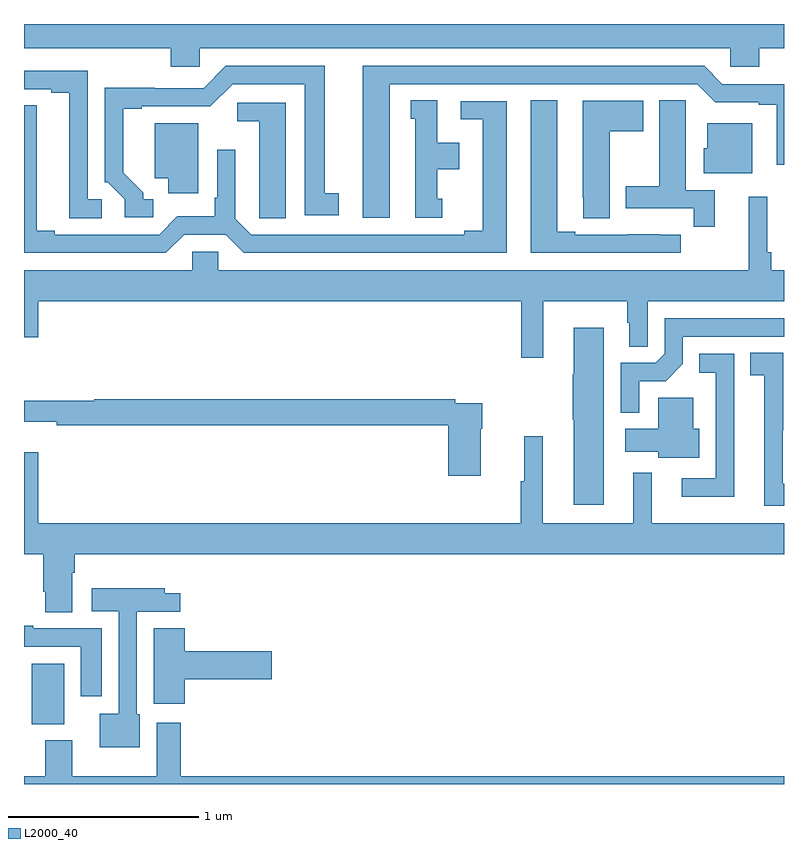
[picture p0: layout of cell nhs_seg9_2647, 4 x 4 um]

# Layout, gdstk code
import gdstk
lib = gdstk.Library(unit=1e-6, precision=1e-09)
def R(c, l, rs):  # rectangles x0, y0, x1, y1
    for r in rs: c.add(gdstk.rectangle(r[:2], r[2:], *l))
def P(c, l, *ps):  # polygons
    for p in ps: c.add(gdstk.Polygon(p, *l))
L2000_40 = (2000, 40)

nhs_seg9_2647 = lib.new_cell('nhs_seg9_2647')
R(nhs_seg9_2647, L2000_40, [(261.041,1240.814,261.211,1241.134)])
P(nhs_seg9_2647, L2000_40, [(261.924,1244.372),(264.717,1244.372),(264.717,1244.274),(264.869,1244.274),(264.869,1244.372),(265,1244.372),(265,1244.5),(261,1244.5),(261,1244.372),(261.773,1244.372),(261.773,1244.274),(261.924,1244.274)],
  [(261.679,1243.578),(261.628,1243.578),(261.628,1243.613),(261.523,1243.718),(261.523,1244.055),(261.619,1244.055),(261.619,1244.067),(261.981,1244.067),(262.098,1244.184),(262.478,1244.184),(262.478,1243.494),(262.657,1243.494),(262.657,1243.61),(262.582,1243.61),(262.582,1244.28),(262.062,1244.28),(261.945,1244.163),(261.689,1244.163),(261.689,1244.165),(261.426,1244.165),(261.426,1243.668),(261.441,1243.668),(261.531,1243.578),(261.531,1243.482),(261.679,1243.482)],
  [(262.924,1244.184),(264.543,1244.184),(264.639,1244.088),(264.866,1244.088),(264.866,1244.076),(264.962,1244.076),(264.962,1243.76),(265,1243.76),(265,1244.184),(264.675,1244.184),(264.579,1244.28),(262.784,1244.28),(262.784,1243.479),(262.924,1243.479)],
  [(261.409,1243.578),(261.336,1243.578),(261.336,1244.253),(261,1244.253),(261,1244.157),(261.143,1244.157),(261.143,1244.137),(261.239,1244.137),(261.239,1243.477),(261.409,1243.477)],
  [(264.635,1243.626),(264.484,1243.626),(264.484,1243.988),(264.483,1243.988),(264.483,1244.099),(264.344,1244.099),(264.344,1243.647),(264.167,1243.647),(264.167,1243.53),(264.526,1243.53),(264.526,1243.434),(264.635,1243.434)],
  [(263.2,1243.581),(263.176,1243.581),(263.176,1243.736),(263.29,1243.736),(263.29,1243.876),(263.176,1243.876),(263.176,1244.099),(263.036,1244.099),(263.036,1244.001),(263.06,1244.001),(263.06,1243.479),(263.2,1243.479)],
  [(264.457,1243.392),(264.344,1243.392),(264.344,1243.393),(264.178,1243.393),(264.178,1243.392),(263.902,1243.392),(263.902,1243.407),(263.806,1243.407),(263.806,1244.099),(263.666,1244.099),(263.666,1243.296),(264.457,1243.296)],
  [(264.082,1243.936),(264.259,1243.936),(264.259,1244.095),(263.942,1244.095),(263.942,1243.585),(263.943,1243.585),(263.943,1243.477),(264.082,1243.477)],
  [(261.843,1243.392),(262.061,1243.392),(262.157,1243.296),(263.542,1243.296),(263.542,1244.094),(263.298,1244.094),(263.298,1243.998),(263.414,1243.998),(263.414,1243.412),(263.318,1243.412),(263.318,1243.392),(262.197,1243.392),(262.113,1243.476),(262.113,1243.837),(262.017,1243.837),(262.017,1243.585),(262.005,1243.585),(262.005,1243.488),(261.807,1243.488),(261.711,1243.392),(261.163,1243.392),(261.163,1243.412),(261.067,1243.412),(261.067,1244.072),(261,1244.072),(261,1243.296),(261.747,1243.296)],
  [(262.378,1244.085),(262.122,1244.085),(262.122,1243.988),(262.238,1243.988),(262.238,1243.585),(262.239,1243.585),(262.239,1243.477),(262.378,1243.477)],
  [(261.916,1243.978),(261.689,1243.978),(261.689,1243.688),(261.758,1243.688),(261.758,1243.608),(261.916,1243.608)],
  [(264.832,1243.978),(264.596,1243.978),(264.596,1243.845),(264.578,1243.845),(264.578,1243.715),(264.832,1243.715)],
  [(263.734,1243.04),(264.174,1243.04),(264.174,1242.927),(264.185,1242.927),(264.185,1242.802),(264.282,1242.802),(264.282,1243.04),(265,1243.04),(265,1243.204),(264.932,1243.204),(264.932,1243.3),(264.912,1243.3),(264.912,1243.591),(264.815,1243.591),(264.815,1243.204),(262.023,1243.204),(262.023,1243.302),(261.885,1243.302),(261.885,1243.204),(261,1243.204),(261,1242.852),(261.076,1242.852),(261.076,1243.04),(263.617,1243.04),(263.617,1242.744),(263.734,1242.744)],
  [(264.237,1242.621),(264.378,1242.621),(264.468,1242.711),(264.468,1242.855),(265,1242.855),(265,1242.951),(264.372,1242.951),(264.372,1242.765),(264.324,1242.717),(264.141,1242.717),(264.141,1242.455),(264.237,1242.455)],
  [(264.052,1242.901),(263.894,1242.901),(263.894,1242.656),(263.887,1242.656),(263.887,1242.418),(263.894,1242.418),(263.894,1241.97),(264.052,1241.97)],
  [(265,1242.08),(264.994,1242.08),(264.994,1242.361),(264.995,1242.361),(264.995,1242.77),(264.823,1242.77),(264.823,1242.652),(264.896,1242.652),(264.896,1241.964),(265,1241.964)],
  [(264.739,1242.562),(264.738,1242.562),(264.738,1242.765),(264.553,1242.765),(264.553,1242.664),(264.642,1242.664),(264.642,1242.108),(264.462,1242.108),(264.462,1242.011),(264.739,1242.011)],
  [(264.553,1242.37),(264.523,1242.37),(264.523,1242.532),(264.338,1242.532),(264.338,1242.37),(264.165,1242.37),(264.165,1242.248),(264.338,1242.248),(264.338,1242.218),(264.553,1242.218)],
  [(263.404,1242.371),(263.412,1242.371),(263.412,1242.504),(263.27,1242.504),(263.27,1242.524),(261.37,1242.524),(261.37,1242.517),(261,1242.517),(261,1242.407),(261.172,1242.407),(261.172,1242.388),(263.234,1242.388),(263.234,1242.123),(263.404,1242.123)],
  [(261.253,1241.612),(261.266,1241.612),(261.266,1241.708),(265,1241.708),(265,1241.872),(264.304,1241.872),(264.304,1242.139),(264.206,1242.139),(264.206,1241.872),(263.731,1241.872),(263.731,1242.331),(263.632,1242.331),(263.632,1242.093),(263.614,1242.093),(263.614,1241.872),(261.076,1241.872),(261.076,1242.247),(261,1242.247),(261,1241.708),(261.101,1241.708),(261.101,1241.512),(261.113,1241.512),(261.113,1241.404),(261.253,1241.404)],
  [(261.61,1240.866),(261.594,1240.866),(261.594,1241.406),(261.823,1241.406),(261.823,1241.504),(261.741,1241.504),(261.741,1241.53),(261.357,1241.53),(261.357,1241.408),(261.498,1241.408),(261.498,1240.87),(261.398,1240.87),(261.398,1240.694),(261.61,1240.694)],
  [(261.409,1241.319),(261.049,1241.319),(261.049,1241.332),(261,1241.332),(261,1241.223),(261.299,1241.223),(261.299,1240.962),(261.409,1240.962)],
  [(261.845,1241.051),(262.303,1241.051),(262.303,1241.198),(261.845,1241.198),(261.845,1241.321),(261.683,1241.321),(261.683,1240.923),(261.845,1240.923)],
  [(261.113,1240.729),(261.113,1240.54),(261,1240.54),(261,1240.5),(265,1240.5),(265,1240.54),(261.824,1240.54),(261.824,1240.822),(261.698,1240.822),(261.698,1240.54),(261.253,1240.54),(261.253,1240.729)])

lib.write_gds('nhs_seg9_2647.gds')
